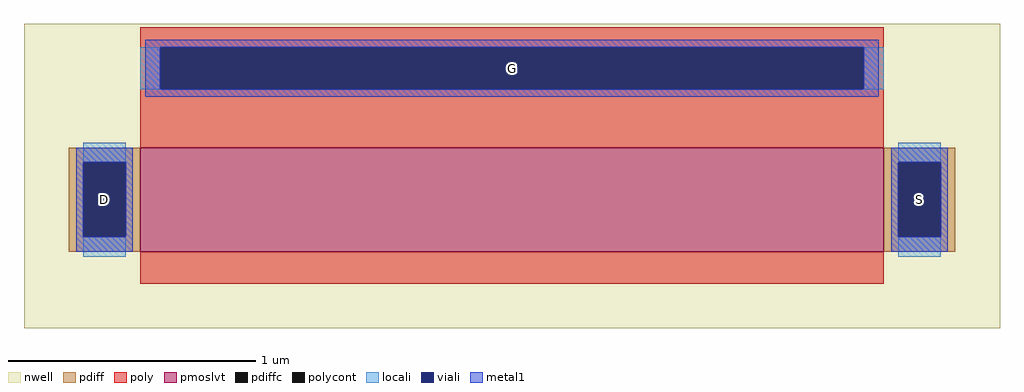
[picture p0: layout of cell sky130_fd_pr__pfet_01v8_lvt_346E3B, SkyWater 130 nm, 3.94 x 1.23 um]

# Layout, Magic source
magic
tech sky130A
magscale 1 2
<< nwell >>
rect -394 -140 394 106
<< pmoslvt >>
rect -300 -78 300 6
<< pdiff >>
rect -358 -6 -300 6
rect -358 -66 -346 -6
rect -312 -66 -300 -6
rect -358 -78 -300 -66
rect 300 -6 358 6
rect 300 -66 312 -6
rect 346 -66 358 -6
rect 300 -78 358 -66
<< pdiffc >>
rect -346 -66 -312 -6
rect 312 -66 346 -6
<< poly >>
rect -300 87 300 103
rect -300 53 -284 87
rect 284 53 300 87
rect -300 6 300 53
rect -300 -104 300 -78
<< polycont >>
rect -284 53 284 87
<< locali >>
rect -300 53 -284 87
rect 284 53 300 87
rect -346 -6 -312 10
rect -346 -82 -312 -66
rect 312 -6 346 10
rect 312 -82 346 -66
<< viali >>
rect -284 53 284 87
rect -346 -66 -312 -6
rect 312 -66 346 -6
<< metal1 >>
rect -296 87 296 93
rect -296 53 -284 87
rect 284 53 296 87
rect -296 47 296 53
rect -352 -6 -306 6
rect -352 -66 -346 -6
rect -312 -66 -306 -6
rect -352 -78 -306 -66
rect 306 -6 352 6
rect 306 -66 312 -6
rect 346 -66 352 -6
rect 306 -78 352 -66
<< labels >>
rlabel pdiffc -329 -36 -329 -36 0 D
port 1 nsew
rlabel pdiffc 329 -36 329 -36 0 S
port 2 nsew
rlabel polycont 0 70 0 70 0 G
port 3 nsew
<< properties >>
string gencell sky130_fd_pr__pfet_01v8_lvt
string library sky130
string parameters w 0.42 l 3.0 m 1 nf 1 diffcov 100 polycov 100 guard 0 glc 1 grc 1 gtc 1 gbc 1 tbcov 100 rlcov 100 topc 1 botc 0 poverlap 0 doverlap 1 lmin 0.35 wmin 0.42 class mosfet compatible {sky130_fd_pr__pfet_01v8  sky130_fd_pr__pfet_01v8_lvt sky130_fd_pr__pfet_01v8_hvt  sky130_fd_pr__pfet_g5v0d10v5} full_metal 1 conn_gates 0 viasrc 100 viadrn 100 viagate 100 viagb 0 viagr 0 viagl 0 viagt 0 doports 1
<< end >>
